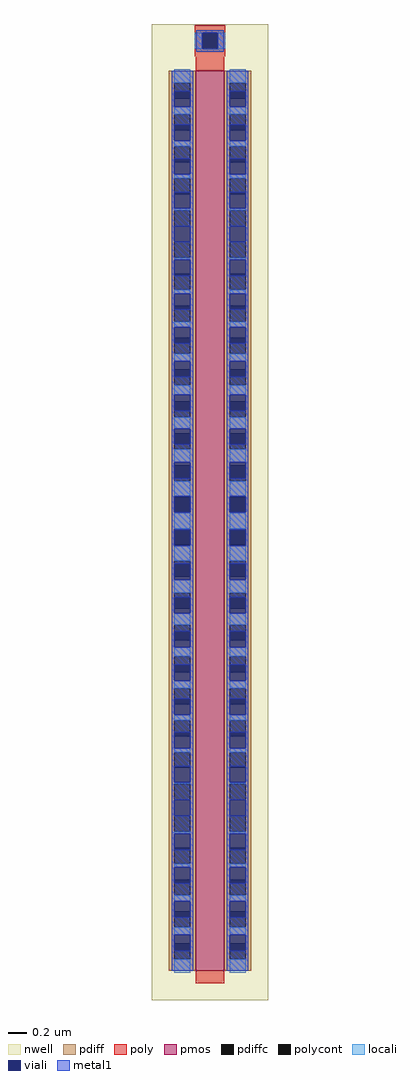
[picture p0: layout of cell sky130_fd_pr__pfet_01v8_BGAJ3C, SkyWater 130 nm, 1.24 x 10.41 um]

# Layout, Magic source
magic
tech sky130A
magscale 1 2
<< nwell >>
rect -124 -1058 124 1024
<< pmos >>
rect -30 -996 30 924
<< pdiff >>
rect -88 899 -30 924
rect -88 865 -76 899
rect -42 865 -30 899
rect -88 831 -30 865
rect -88 797 -76 831
rect -42 797 -30 831
rect -88 763 -30 797
rect -88 729 -76 763
rect -42 729 -30 763
rect -88 695 -30 729
rect -88 661 -76 695
rect -42 661 -30 695
rect -88 627 -30 661
rect -88 593 -76 627
rect -42 593 -30 627
rect -88 559 -30 593
rect -88 525 -76 559
rect -42 525 -30 559
rect -88 491 -30 525
rect -88 457 -76 491
rect -42 457 -30 491
rect -88 423 -30 457
rect -88 389 -76 423
rect -42 389 -30 423
rect -88 355 -30 389
rect -88 321 -76 355
rect -42 321 -30 355
rect -88 287 -30 321
rect -88 253 -76 287
rect -42 253 -30 287
rect -88 219 -30 253
rect -88 185 -76 219
rect -42 185 -30 219
rect -88 151 -30 185
rect -88 117 -76 151
rect -42 117 -30 151
rect -88 83 -30 117
rect -88 49 -76 83
rect -42 49 -30 83
rect -88 15 -30 49
rect -88 -19 -76 15
rect -42 -19 -30 15
rect -88 -53 -30 -19
rect -88 -87 -76 -53
rect -42 -87 -30 -53
rect -88 -121 -30 -87
rect -88 -155 -76 -121
rect -42 -155 -30 -121
rect -88 -189 -30 -155
rect -88 -223 -76 -189
rect -42 -223 -30 -189
rect -88 -257 -30 -223
rect -88 -291 -76 -257
rect -42 -291 -30 -257
rect -88 -325 -30 -291
rect -88 -359 -76 -325
rect -42 -359 -30 -325
rect -88 -393 -30 -359
rect -88 -427 -76 -393
rect -42 -427 -30 -393
rect -88 -461 -30 -427
rect -88 -495 -76 -461
rect -42 -495 -30 -461
rect -88 -529 -30 -495
rect -88 -563 -76 -529
rect -42 -563 -30 -529
rect -88 -597 -30 -563
rect -88 -631 -76 -597
rect -42 -631 -30 -597
rect -88 -665 -30 -631
rect -88 -699 -76 -665
rect -42 -699 -30 -665
rect -88 -733 -30 -699
rect -88 -767 -76 -733
rect -42 -767 -30 -733
rect -88 -801 -30 -767
rect -88 -835 -76 -801
rect -42 -835 -30 -801
rect -88 -869 -30 -835
rect -88 -903 -76 -869
rect -42 -903 -30 -869
rect -88 -937 -30 -903
rect -88 -971 -76 -937
rect -42 -971 -30 -937
rect -88 -996 -30 -971
rect 30 899 88 924
rect 30 865 42 899
rect 76 865 88 899
rect 30 831 88 865
rect 30 797 42 831
rect 76 797 88 831
rect 30 763 88 797
rect 30 729 42 763
rect 76 729 88 763
rect 30 695 88 729
rect 30 661 42 695
rect 76 661 88 695
rect 30 627 88 661
rect 30 593 42 627
rect 76 593 88 627
rect 30 559 88 593
rect 30 525 42 559
rect 76 525 88 559
rect 30 491 88 525
rect 30 457 42 491
rect 76 457 88 491
rect 30 423 88 457
rect 30 389 42 423
rect 76 389 88 423
rect 30 355 88 389
rect 30 321 42 355
rect 76 321 88 355
rect 30 287 88 321
rect 30 253 42 287
rect 76 253 88 287
rect 30 219 88 253
rect 30 185 42 219
rect 76 185 88 219
rect 30 151 88 185
rect 30 117 42 151
rect 76 117 88 151
rect 30 83 88 117
rect 30 49 42 83
rect 76 49 88 83
rect 30 15 88 49
rect 30 -19 42 15
rect 76 -19 88 15
rect 30 -53 88 -19
rect 30 -87 42 -53
rect 76 -87 88 -53
rect 30 -121 88 -87
rect 30 -155 42 -121
rect 76 -155 88 -121
rect 30 -189 88 -155
rect 30 -223 42 -189
rect 76 -223 88 -189
rect 30 -257 88 -223
rect 30 -291 42 -257
rect 76 -291 88 -257
rect 30 -325 88 -291
rect 30 -359 42 -325
rect 76 -359 88 -325
rect 30 -393 88 -359
rect 30 -427 42 -393
rect 76 -427 88 -393
rect 30 -461 88 -427
rect 30 -495 42 -461
rect 76 -495 88 -461
rect 30 -529 88 -495
rect 30 -563 42 -529
rect 76 -563 88 -529
rect 30 -597 88 -563
rect 30 -631 42 -597
rect 76 -631 88 -597
rect 30 -665 88 -631
rect 30 -699 42 -665
rect 76 -699 88 -665
rect 30 -733 88 -699
rect 30 -767 42 -733
rect 76 -767 88 -733
rect 30 -801 88 -767
rect 30 -835 42 -801
rect 76 -835 88 -801
rect 30 -869 88 -835
rect 30 -903 42 -869
rect 76 -903 88 -869
rect 30 -937 88 -903
rect 30 -971 42 -937
rect 76 -971 88 -937
rect 30 -996 88 -971
<< pdiffc >>
rect -76 865 -42 899
rect -76 797 -42 831
rect -76 729 -42 763
rect -76 661 -42 695
rect -76 593 -42 627
rect -76 525 -42 559
rect -76 457 -42 491
rect -76 389 -42 423
rect -76 321 -42 355
rect -76 253 -42 287
rect -76 185 -42 219
rect -76 117 -42 151
rect -76 49 -42 83
rect -76 -19 -42 15
rect -76 -87 -42 -53
rect -76 -155 -42 -121
rect -76 -223 -42 -189
rect -76 -291 -42 -257
rect -76 -359 -42 -325
rect -76 -427 -42 -393
rect -76 -495 -42 -461
rect -76 -563 -42 -529
rect -76 -631 -42 -597
rect -76 -699 -42 -665
rect -76 -767 -42 -733
rect -76 -835 -42 -801
rect -76 -903 -42 -869
rect -76 -971 -42 -937
rect 42 865 76 899
rect 42 797 76 831
rect 42 729 76 763
rect 42 661 76 695
rect 42 593 76 627
rect 42 525 76 559
rect 42 457 76 491
rect 42 389 76 423
rect 42 321 76 355
rect 42 253 76 287
rect 42 185 76 219
rect 42 117 76 151
rect 42 49 76 83
rect 42 -19 76 15
rect 42 -87 76 -53
rect 42 -155 76 -121
rect 42 -223 76 -189
rect 42 -291 76 -257
rect 42 -359 76 -325
rect 42 -427 76 -393
rect 42 -495 76 -461
rect 42 -563 76 -529
rect 42 -631 76 -597
rect 42 -699 76 -665
rect 42 -767 76 -733
rect 42 -835 76 -801
rect 42 -903 76 -869
rect 42 -971 76 -937
<< poly >>
rect -33 1005 33 1021
rect -33 971 -17 1005
rect 17 971 33 1005
rect -33 955 33 971
rect -30 924 30 955
rect -30 -1022 30 -996
<< polycont >>
rect -17 971 17 1005
<< locali >>
rect -33 971 -17 1005
rect 17 971 33 1005
rect -76 899 -42 928
rect -76 831 -42 847
rect -76 763 -42 775
rect -76 695 -42 703
rect -76 627 -42 631
rect -76 521 -42 525
rect -76 449 -42 457
rect -76 377 -42 389
rect -76 305 -42 321
rect -76 233 -42 253
rect -76 161 -42 185
rect -76 89 -42 117
rect -76 17 -42 49
rect -76 -53 -42 -19
rect -76 -121 -42 -89
rect -76 -189 -42 -161
rect -76 -257 -42 -233
rect -76 -325 -42 -305
rect -76 -393 -42 -377
rect -76 -461 -42 -449
rect -76 -529 -42 -521
rect -76 -597 -42 -593
rect -76 -703 -42 -699
rect -76 -775 -42 -767
rect -76 -847 -42 -835
rect -76 -919 -42 -903
rect -76 -1000 -42 -971
rect 42 899 76 928
rect 42 831 76 847
rect 42 763 76 775
rect 42 695 76 703
rect 42 627 76 631
rect 42 521 76 525
rect 42 449 76 457
rect 42 377 76 389
rect 42 305 76 321
rect 42 233 76 253
rect 42 161 76 185
rect 42 89 76 117
rect 42 17 76 49
rect 42 -53 76 -19
rect 42 -121 76 -89
rect 42 -189 76 -161
rect 42 -257 76 -233
rect 42 -325 76 -305
rect 42 -393 76 -377
rect 42 -461 76 -449
rect 42 -529 76 -521
rect 42 -597 76 -593
rect 42 -703 76 -699
rect 42 -775 76 -767
rect 42 -847 76 -835
rect 42 -919 76 -903
rect 42 -1000 76 -971
<< viali >>
rect -17 971 17 1005
rect -76 865 -42 881
rect -76 847 -42 865
rect -76 797 -42 809
rect -76 775 -42 797
rect -76 729 -42 737
rect -76 703 -42 729
rect -76 661 -42 665
rect -76 631 -42 661
rect -76 559 -42 593
rect -76 491 -42 521
rect -76 487 -42 491
rect -76 423 -42 449
rect -76 415 -42 423
rect -76 355 -42 377
rect -76 343 -42 355
rect -76 287 -42 305
rect -76 271 -42 287
rect -76 219 -42 233
rect -76 199 -42 219
rect -76 151 -42 161
rect -76 127 -42 151
rect -76 83 -42 89
rect -76 55 -42 83
rect -76 15 -42 17
rect -76 -17 -42 15
rect -76 -87 -42 -55
rect -76 -89 -42 -87
rect -76 -155 -42 -127
rect -76 -161 -42 -155
rect -76 -223 -42 -199
rect -76 -233 -42 -223
rect -76 -291 -42 -271
rect -76 -305 -42 -291
rect -76 -359 -42 -343
rect -76 -377 -42 -359
rect -76 -427 -42 -415
rect -76 -449 -42 -427
rect -76 -495 -42 -487
rect -76 -521 -42 -495
rect -76 -563 -42 -559
rect -76 -593 -42 -563
rect -76 -665 -42 -631
rect -76 -733 -42 -703
rect -76 -737 -42 -733
rect -76 -801 -42 -775
rect -76 -809 -42 -801
rect -76 -869 -42 -847
rect -76 -881 -42 -869
rect -76 -937 -42 -919
rect -76 -953 -42 -937
rect 42 865 76 881
rect 42 847 76 865
rect 42 797 76 809
rect 42 775 76 797
rect 42 729 76 737
rect 42 703 76 729
rect 42 661 76 665
rect 42 631 76 661
rect 42 559 76 593
rect 42 491 76 521
rect 42 487 76 491
rect 42 423 76 449
rect 42 415 76 423
rect 42 355 76 377
rect 42 343 76 355
rect 42 287 76 305
rect 42 271 76 287
rect 42 219 76 233
rect 42 199 76 219
rect 42 151 76 161
rect 42 127 76 151
rect 42 83 76 89
rect 42 55 76 83
rect 42 15 76 17
rect 42 -17 76 15
rect 42 -87 76 -55
rect 42 -89 76 -87
rect 42 -155 76 -127
rect 42 -161 76 -155
rect 42 -223 76 -199
rect 42 -233 76 -223
rect 42 -291 76 -271
rect 42 -305 76 -291
rect 42 -359 76 -343
rect 42 -377 76 -359
rect 42 -427 76 -415
rect 42 -449 76 -427
rect 42 -495 76 -487
rect 42 -521 76 -495
rect 42 -563 76 -559
rect 42 -593 76 -563
rect 42 -665 76 -631
rect 42 -733 76 -703
rect 42 -737 76 -733
rect 42 -801 76 -775
rect 42 -809 76 -801
rect 42 -869 76 -847
rect 42 -881 76 -869
rect 42 -937 76 -919
rect 42 -953 76 -937
<< metal1 >>
rect -29 1005 29 1011
rect -29 971 -17 1005
rect 17 971 29 1005
rect -29 965 29 971
rect -82 881 -36 924
rect -82 847 -76 881
rect -42 847 -36 881
rect -82 809 -36 847
rect -82 775 -76 809
rect -42 775 -36 809
rect -82 737 -36 775
rect -82 703 -76 737
rect -42 703 -36 737
rect -82 665 -36 703
rect -82 631 -76 665
rect -42 631 -36 665
rect -82 593 -36 631
rect -82 559 -76 593
rect -42 559 -36 593
rect -82 521 -36 559
rect -82 487 -76 521
rect -42 487 -36 521
rect -82 449 -36 487
rect -82 415 -76 449
rect -42 415 -36 449
rect -82 377 -36 415
rect -82 343 -76 377
rect -42 343 -36 377
rect -82 305 -36 343
rect -82 271 -76 305
rect -42 271 -36 305
rect -82 233 -36 271
rect -82 199 -76 233
rect -42 199 -36 233
rect -82 161 -36 199
rect -82 127 -76 161
rect -42 127 -36 161
rect -82 89 -36 127
rect -82 55 -76 89
rect -42 55 -36 89
rect -82 17 -36 55
rect -82 -17 -76 17
rect -42 -17 -36 17
rect -82 -55 -36 -17
rect -82 -89 -76 -55
rect -42 -89 -36 -55
rect -82 -127 -36 -89
rect -82 -161 -76 -127
rect -42 -161 -36 -127
rect -82 -199 -36 -161
rect -82 -233 -76 -199
rect -42 -233 -36 -199
rect -82 -271 -36 -233
rect -82 -305 -76 -271
rect -42 -305 -36 -271
rect -82 -343 -36 -305
rect -82 -377 -76 -343
rect -42 -377 -36 -343
rect -82 -415 -36 -377
rect -82 -449 -76 -415
rect -42 -449 -36 -415
rect -82 -487 -36 -449
rect -82 -521 -76 -487
rect -42 -521 -36 -487
rect -82 -559 -36 -521
rect -82 -593 -76 -559
rect -42 -593 -36 -559
rect -82 -631 -36 -593
rect -82 -665 -76 -631
rect -42 -665 -36 -631
rect -82 -703 -36 -665
rect -82 -737 -76 -703
rect -42 -737 -36 -703
rect -82 -775 -36 -737
rect -82 -809 -76 -775
rect -42 -809 -36 -775
rect -82 -847 -36 -809
rect -82 -881 -76 -847
rect -42 -881 -36 -847
rect -82 -919 -36 -881
rect -82 -953 -76 -919
rect -42 -953 -36 -919
rect -82 -996 -36 -953
rect 36 881 82 924
rect 36 847 42 881
rect 76 847 82 881
rect 36 809 82 847
rect 36 775 42 809
rect 76 775 82 809
rect 36 737 82 775
rect 36 703 42 737
rect 76 703 82 737
rect 36 665 82 703
rect 36 631 42 665
rect 76 631 82 665
rect 36 593 82 631
rect 36 559 42 593
rect 76 559 82 593
rect 36 521 82 559
rect 36 487 42 521
rect 76 487 82 521
rect 36 449 82 487
rect 36 415 42 449
rect 76 415 82 449
rect 36 377 82 415
rect 36 343 42 377
rect 76 343 82 377
rect 36 305 82 343
rect 36 271 42 305
rect 76 271 82 305
rect 36 233 82 271
rect 36 199 42 233
rect 76 199 82 233
rect 36 161 82 199
rect 36 127 42 161
rect 76 127 82 161
rect 36 89 82 127
rect 36 55 42 89
rect 76 55 82 89
rect 36 17 82 55
rect 36 -17 42 17
rect 76 -17 82 17
rect 36 -55 82 -17
rect 36 -89 42 -55
rect 76 -89 82 -55
rect 36 -127 82 -89
rect 36 -161 42 -127
rect 76 -161 82 -127
rect 36 -199 82 -161
rect 36 -233 42 -199
rect 76 -233 82 -199
rect 36 -271 82 -233
rect 36 -305 42 -271
rect 76 -305 82 -271
rect 36 -343 82 -305
rect 36 -377 42 -343
rect 76 -377 82 -343
rect 36 -415 82 -377
rect 36 -449 42 -415
rect 76 -449 82 -415
rect 36 -487 82 -449
rect 36 -521 42 -487
rect 76 -521 82 -487
rect 36 -559 82 -521
rect 36 -593 42 -559
rect 76 -593 82 -559
rect 36 -631 82 -593
rect 36 -665 42 -631
rect 76 -665 82 -631
rect 36 -703 82 -665
rect 36 -737 42 -703
rect 76 -737 82 -703
rect 36 -775 82 -737
rect 36 -809 42 -775
rect 76 -809 82 -775
rect 36 -847 82 -809
rect 36 -881 42 -847
rect 76 -881 82 -847
rect 36 -919 82 -881
rect 36 -953 42 -919
rect 76 -953 82 -919
rect 36 -996 82 -953
<< end >>
